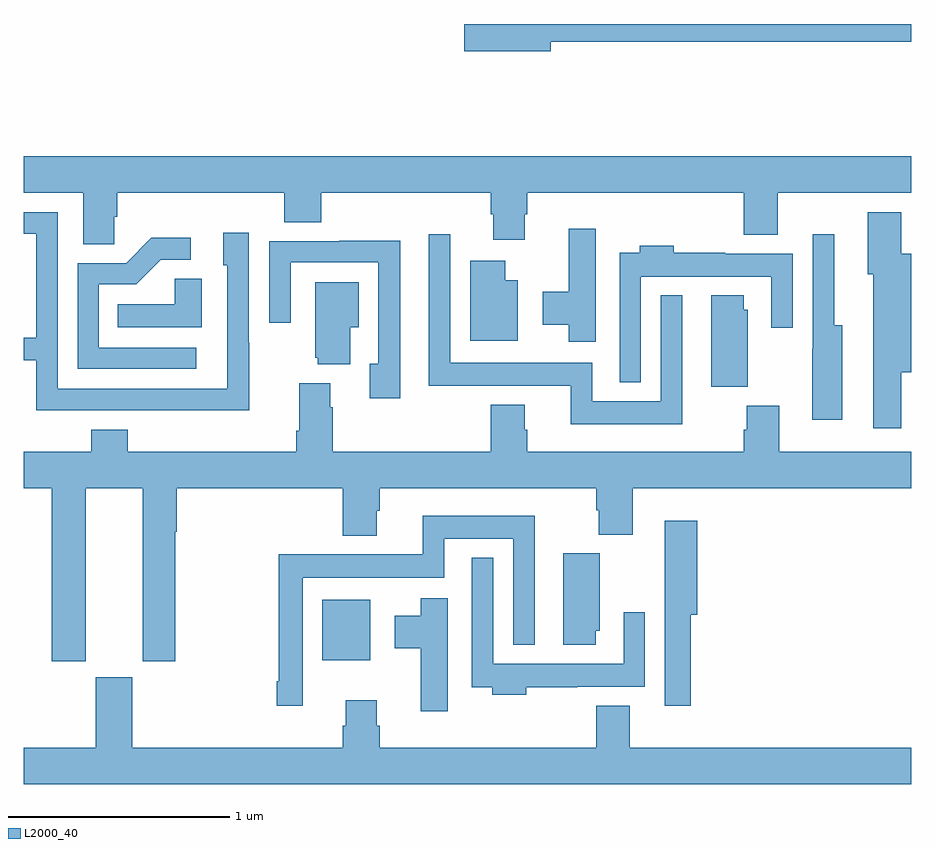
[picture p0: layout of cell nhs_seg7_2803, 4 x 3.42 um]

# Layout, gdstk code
import gdstk
lib = gdstk.Library(unit=1e-6, precision=1e-09)
def R(c, l, rs):  # rectangles x0, y0, x1, y1
    for r in rs: c.add(gdstk.rectangle(r[:2], r[2:], *l))
def P(c, l, *ps):  # polygons
    for p in ps: c.add(gdstk.Polygon(p, *l))
L2000_40 = (2000, 40)

nhs_seg7_2803 = lib.new_cell('nhs_seg7_2803')
R(nhs_seg7_2803, L2000_40, [(292.346,1041.134,292.561,1041.406)])
P(nhs_seg7_2803, L2000_40, [(293.374,1043.92),(295,1043.92),(295,1044),(292.986,1044),(292.986,1043.878),(293.374,1043.878)],
  [(291.408,1043.131),(291.422,1043.131),(291.422,1043.24),(292.175,1043.24),(292.175,1043.107),(292.34,1043.107),(292.34,1043.24),(293.105,1043.24),(293.105,1043.142),(293.117,1043.142),(293.117,1043.028),(293.257,1043.028),(293.257,1043.142),(293.27,1043.142),(293.27,1043.24),(294.245,1043.24),(294.245,1043.051),(294.397,1043.051),(294.397,1043.24),(295,1043.24),(295,1043.404),(291,1043.404),(291,1043.24),(291.269,1043.24),(291.269,1043.008),(291.408,1043.008)],
  [(294.955,1042.43),(295,1042.43),(295,1042.965),(294.955,1042.965),(294.955,1043.152),(294.803,1043.152),(294.803,1042.872),(294.827,1042.872),(294.827,1042.179),(294.955,1042.179)],
  [(292.017,1042.565),(292.014,1042.565),(292.014,1043.059),(291.899,1043.059),(291.899,1042.914),(291.918,1042.914),(291.918,1042.356),(291.153,1042.356),(291.153,1043.151),(291,1043.151),(291,1043.055),(291.057,1043.055),(291.057,1042.586),(291,1042.586),(291,1042.485),(291.057,1042.485),(291.057,1042.26),(291.553,1042.26),(291.553,1042.259),(292.017,1042.259)],
  [(293.578,1043.077),(293.456,1043.077),(293.456,1042.794),(293.339,1042.794),(293.339,1042.646),(293.456,1042.646),(293.456,1042.569),(293.578,1042.569)],
  [(294.688,1042.642),(294.652,1042.642),(294.652,1043.053),(294.555,1043.053),(294.555,1042.538),(294.554,1042.538),(294.554,1042.218),(294.688,1042.218)],
  [(293.968,1042.777),(293.871,1042.777),(293.871,1042.3),(293.562,1042.3),(293.562,1042.474),(292.923,1042.474),(292.923,1043.053),(292.826,1043.053),(292.826,1042.37),(293.465,1042.37),(293.465,1042.196),(293.968,1042.196)],
  [(291.778,1042.542),(291.339,1042.542),(291.339,1042.827),(291.508,1042.827),(291.619,1042.938),(291.754,1042.938),(291.754,1043.036),(291.575,1043.036),(291.462,1042.923),(291.243,1042.923),(291.243,1042.446),(291.778,1042.446)],
  [(292.696,1043.024),(292.423,1043.024),(292.423,1043.022),(292.107,1043.022),(292.107,1042.653),(292.203,1042.653),(292.203,1042.926),(292.599,1042.926),(292.599,1042.47),(292.559,1042.47),(292.559,1042.314),(292.696,1042.314)],
  [(293.781,1042.862),(294.369,1042.862),(294.369,1042.632),(294.465,1042.632),(294.465,1042.966),(294.161,1042.966),(294.161,1042.969),(293.93,1042.969),(293.93,1043.002),(293.777,1043.002),(293.777,1042.969),(293.685,1042.969),(293.685,1042.385),(293.781,1042.385)],
  [(293.227,1042.846),(293.17,1042.846),(293.17,1042.933),(293.012,1042.933),(293.012,1042.574),(293.227,1042.574)],
  [(291.802,1042.853),(291.681,1042.853),(291.681,1042.738),(291.424,1042.738),(291.424,1042.634),(291.802,1042.634)],
  [(292.471,1042.634),(292.51,1042.634),(292.51,1042.837),(292.313,1042.837),(292.313,1042.497),(292.325,1042.497),(292.325,1042.466),(292.471,1042.466)],
  [(294.262,1042.713),(294.244,1042.713),(294.244,1042.777),(294.098,1042.777),(294.098,1042.366),(294.262,1042.366)],
  [(291.28,1041.908),(291.536,1041.908),(291.536,1041.129),(291.684,1041.129),(291.684,1041.712),(291.689,1041.712),(291.689,1041.908),(292.439,1041.908),(292.439,1041.695),(292.591,1041.695),(292.591,1041.807),(292.604,1041.807),(292.604,1041.908),(293.579,1041.908),(293.579,1041.809),(293.591,1041.809),(293.591,1041.7),(293.744,1041.7),(293.744,1041.908),(295,1041.908),(295,1042.072),(294.405,1042.072),(294.405,1042.281),(294.257,1042.281),(294.257,1042.172),(294.245,1042.172),(294.245,1042.072),(293.27,1042.072),(293.27,1042.173),(293.257,1042.173),(293.257,1042.285),(293.105,1042.285),(293.105,1042.072),(292.394,1042.072),(292.394,1042.274),(292.381,1042.274),(292.381,1042.381),(292.241,1042.381),(292.241,1042.168),(292.229,1042.168),(292.229,1042.072),(291.47,1042.072),(291.47,1042.171),(291.305,1042.171),(291.305,1042.072),(291,1042.072),(291,1041.908),(291.128,1041.908),(291.128,1041.129),(291.28,1041.129)],
  [(292.257,1041.506),(292.896,1041.506),(292.896,1041.68),(293.205,1041.68),(293.205,1041.203),(293.302,1041.203),(293.302,1041.784),(292.799,1041.784),(292.799,1041.61),(292.149,1041.61),(292.149,1041.04),(292.141,1041.04),(292.141,1040.928),(292.257,1040.928)],
  [(294.005,1041.338),(294.035,1041.338),(294.035,1041.763),(293.888,1041.763),(293.888,1041.442),(293.889,1041.442),(293.889,1040.928),(294.005,1040.928)],
  [(293.578,1041.267),(293.596,1041.267),(293.596,1041.615),(293.432,1041.615),(293.432,1041.204),(293.578,1041.204)],
  [(293.264,1041.012),(293.495,1041.012),(293.495,1041.014),(293.799,1041.014),(293.799,1041.349),(293.703,1041.349),(293.703,1041.118),(293.115,1041.118),(293.115,1041.595),(293.019,1041.595),(293.019,1041.012),(293.111,1041.012),(293.111,1040.978),(293.264,1040.978)],
  [(292.912,1041.412),(292.79,1041.412),(292.79,1041.334),(292.673,1041.334),(292.673,1041.187),(292.79,1041.187),(292.79,1040.904),(292.912,1040.904)],
  [(295,1040.74),(293.731,1040.74),(293.731,1040.929),(293.579,1040.929),(293.579,1040.74),(292.604,1040.74),(292.604,1040.838),(292.591,1040.838),(292.591,1040.953),(292.451,1040.953),(292.451,1040.838),(292.439,1040.838),(292.439,1040.74),(291.49,1040.74),(291.49,1041.057),(291.326,1041.057),(291.326,1040.74),(291,1040.74),(291,1040.576),(295,1040.576)])

lib.write_gds('nhs_seg7_2803.gds')
